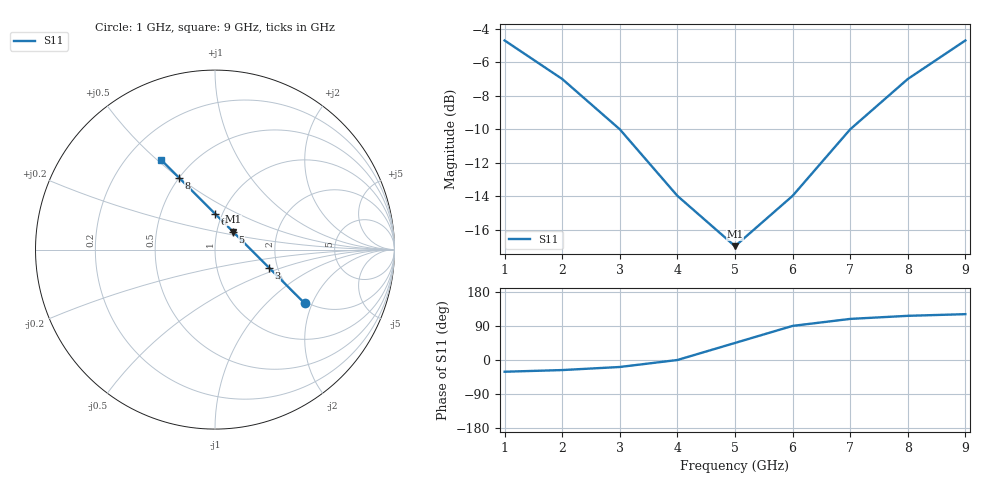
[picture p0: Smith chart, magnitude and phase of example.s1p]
# Hz S RI R 50
! Frequency  Re(S11)  Im(S11)
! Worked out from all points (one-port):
!   9 points, 1 GHz to 9 GHz, reference 50 ohm
!   lowest |S11| = -17.0 dB at 5 GHz (marker M1), VSWR 1.33, Z = 59.8 + j12.2 ohm
!   |S11| at or under -10 dB: 3 GHz to 7 GHz (4 GHz wide, 80 % of centre)
!   S11 on the Smith chart (normalised r, x): 1 GHz: 1.94, -1.76; 3 GHz: 1.80, -0.40; 5 GHz: 1.20, +0.24; 6 GHz: 0.92, +0.38; 8 GHz: 0.50, +0.50; 9 GHz: 0.34, +0.52
1e9  0.5 -0.3
2e9  0.4 -0.2
3e9  0.3 -0.1
4e9  0.2 0
5e9  0.1 0.1
6e9  0 0.2
7e9  -0.1 0.3
8e9  -0.2 0.4
9e9  -0.3 0.5
